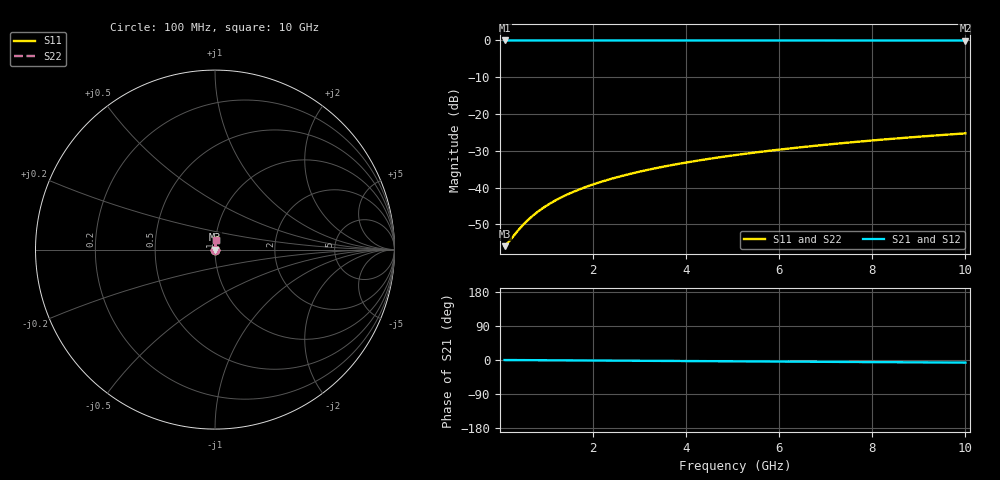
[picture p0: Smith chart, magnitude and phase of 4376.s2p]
# Hz S RI R 50.00
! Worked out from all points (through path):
!   100 points, 100 MHz to 10 GHz, reference 50 ohm
!   highest |S21| = -0.01 dB at 100 MHz (marker M1); lowest = 0.0 dB at 10 GHz (marker M2)
!   lowest |S11| = -55.9 dB at 100 MHz (marker M3), VSWR 1.00, Z = 50.2 + j0.0545 ohm
!   |S11| at or under -10 dB: start of sweep to end of sweep
!   |S22| runs from -55.9 to -25.3 dB; largest |S21 - S12| = 0
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1e8  0.0015 0.000544  0.9985 -0.0012  0.9985 -0.0012  0.0015 0.000544
2e8  0.00151 0.00109  0.9985 -0.0024  0.9985 -0.0024  0.00151 0.00109
4e8  0.00153 0.00217  0.9985 -0.0048  0.9985 -0.0048  0.00153 0.00217
5e8  0.00154 0.00272  0.9984 -0.006  0.9984 -0.006  0.00154 0.00272
6e8  0.00155 0.00326  0.9984 -0.0072  0.9984 -0.0072  0.00155 0.00326
7e8  0.00157 0.0038  0.9984 -0.0084  0.9984 -0.0084  0.00157 0.0038
8e8  0.00158 0.00435  0.9984 -0.0096  0.9984 -0.0096  0.00158 0.00435
1e9  0.00161 0.00543  0.9984 -0.012  0.9984 -0.012  0.00161 0.00543
1.2e9  0.00164 0.00652  0.9983 -0.0144  0.9983 -0.0144  0.00164 0.00652
1.5e9  0.0017 0.00815  0.9982 -0.018  0.9982 -0.018  0.0017 0.00815
1.8e9  0.00178 0.00978  0.9981 -0.0216  0.9981 -0.0216  0.00178 0.00978
2.1e9  0.00186 0.0114  0.998 -0.0252  0.998 -0.0252  0.00186 0.0114
2.5e9  0.00198 0.0136  0.9979 -0.03  0.9979 -0.03  0.00198 0.0136
2.9e9  0.00213 0.0157  0.9977 -0.0348  0.9977 -0.0348  0.00213 0.0157
3.4e9  0.00235 0.0185  0.9974 -0.0408  0.9974 -0.0408  0.00235 0.0185
4.2e9  0.00275 0.0228  0.9968 -0.0504  0.9968 -0.0504  0.00275 0.0228
5.1e9  0.00331 0.0277  0.9961 -0.0612  0.9961 -0.0612  0.00331 0.0277
5.9e9  0.0039 0.032  0.9953 -0.0708  0.9953 -0.0708  0.0039 0.032
6.7e9  0.00456 0.0363  0.9944 -0.0804  0.9944 -0.0804  0.00456 0.0363
7.5e9  0.00532 0.0406  0.9934 -0.09  0.9934 -0.09  0.00532 0.0406
8.4e9  0.00626 0.0454  0.9922 -0.1007  0.9922 -0.1007  0.00626 0.0454
1e10  0.0082 0.0539  0.9896 -0.1198  0.9896 -0.1198  0.0082 0.0539
